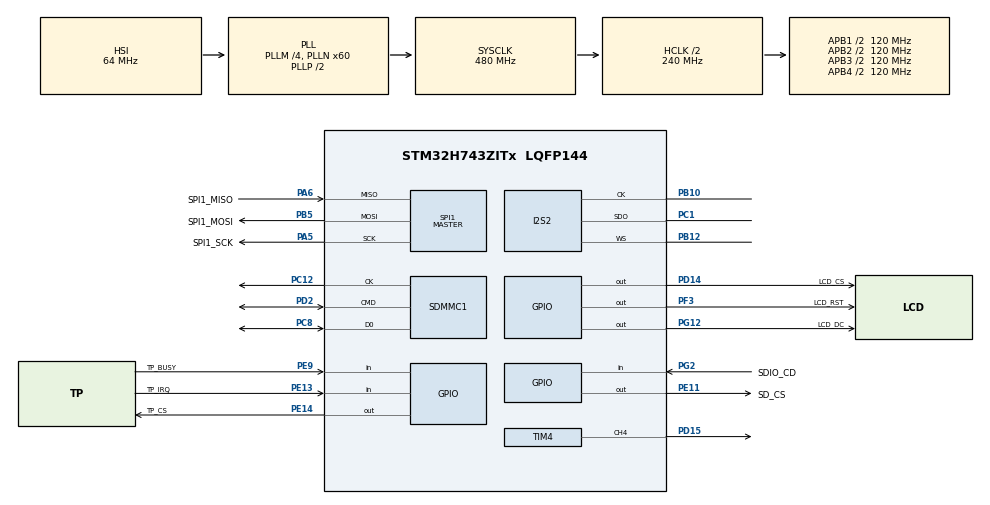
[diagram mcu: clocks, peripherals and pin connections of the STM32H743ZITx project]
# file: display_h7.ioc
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CORTEX_M7.CPU_DCache=Disabled
CORTEX_M7.CPU_ICache=Disabled
CORTEX_M7.Enable_Spec=MPU_REGION_ENABLE
CORTEX_M7.MPU_Control=MPU_PRIVILEGED_DEFAULT
CORTEX_M7.default_mode_Activation=1
Dma.Request0=SPI1_TX
Dma.Request1=SPI2_TX
Dma.SPI1_TX.0.Direction=DMA_MEMORY_TO_PERIPH
Dma.SPI1_TX.0.EventEnable=DISABLE
Dma.SPI1_TX.0.FIFOMode=DMA_FIFOMODE_DISABLE
Dma.SPI1_TX.0.Instance=DMA1_Stream0
Dma.SPI1_TX.0.MemDataAlignment=DMA_MDATAALIGN_BYTE
Dma.SPI1_TX.0.MemInc=DMA_MINC_ENABLE
Dma.SPI1_TX.0.Mode=DMA_NORMAL
Dma.SPI1_TX.0.PeriphDataAlignment=DMA_PDATAALIGN_BYTE
Dma.SPI1_TX.0.PeriphInc=DMA_PINC_DISABLE
Dma.SPI1_TX.0.Polarity=HAL_DMAMUX_REQ_GEN_RISING
Dma.SPI1_TX.0.Priority=DMA_PRIORITY_LOW
Dma.SPI1_TX.0.RequestNumber=1
Dma.SPI1_TX.0.SignalID=NONE
Dma.SPI1_TX.0.SyncEnable=DISABLE
Dma.SPI1_TX.0.SyncPolarity=HAL_DMAMUX_SYNC_NO_EVENT
Dma.SPI1_TX.0.SyncRequestNumber=1
Dma.SPI1_TX.0.SyncSignalID=NONE
Dma.SPI2_TX.1.Direction=DMA_MEMORY_TO_PERIPH
Dma.SPI2_TX.1.EventEnable=DISABLE
Dma.SPI2_TX.1.FIFOMode=DMA_FIFOMODE_DISABLE
Dma.SPI2_TX.1.Instance=DMA1_Stream1
Dma.SPI2_TX.1.MemDataAlignment=DMA_MDATAALIGN_HALFWORD
Dma.SPI2_TX.1.MemInc=DMA_MINC_ENABLE
Dma.SPI2_TX.1.Mode=DMA_CIRCULAR
Dma.SPI2_TX.1.PeriphDataAlignment=DMA_PDATAALIGN_HALFWORD
Dma.SPI2_TX.1.PeriphInc=DMA_PINC_DISABLE
Dma.SPI2_TX.1.Polarity=HAL_DMAMUX_REQ_GEN_RISING
Dma.SPI2_TX.1.Priority=DMA_PRIORITY_VERY_HIGH
Dma.SPI2_TX.1.RequestNumber=1
Dma.SPI2_TX.1.SignalID=NONE
Dma.SPI2_TX.1.SyncEnable=DISABLE
Dma.SPI2_TX.1.SyncPolarity=HAL_DMAMUX_SYNC_NO_EVENT
Dma.SPI2_TX.1.SyncRequestNumber=1
Dma.SPI2_TX.1.SyncSignalID=NONE
FATFS.BSP.number=1
FATFS.USE_DMA_CODE_SD=0
FATFS._FS_EXFAT=1
FATFS._MAX_SS=4096
FATFS._USE_FIND=1
FATFS._USE_LFN=1
FATFS0.BSP.STBoard=false
FATFS0.BSP.api=Unknown
FATFS0.BSP.instance=PG2
FATFS0.BSP.ip=GPIO
FATFS0.BSP.mode=Input
FATFS0.BSP.name=Detect_SDIO
FATFS0.BSP.solution=PG2
I2S2.AudioFreq=I2S_AUDIOFREQ_44K
I2S2.CPOL=I2S_CPOL_LOW
I2S2.ErrorAudioFreq=0.41 %
I2S2.Instance=SPI$Index
I2S2.MasterKeepIOState=I2S_MASTER_KEEP_IO_STATE_ENABLE
I2S2.RealAudioFreq=44.182 KHz
Mcu.Family=STM32H7
Mcu.Name=STM32H743ZITx
Mcu.Package=LQFP144
NUCLEO-H743ZI2.VCP=true
NVIC.DMA1_Stream0_IRQn=true\:0\:0\:false\:false\:true\:false\:true\:true
NVIC.DMA1_Stream1_IRQn=true\:0\:0\:false\:false\:true\:false\:true\:true
NVIC.PriorityGroup=NVIC_PRIORITYGROUP_4
NVIC.SPI1_IRQn=true\:0\:0\:false\:false\:true\:false\:true\:true
NVIC.SPI2_IRQn=true\:0\:0\:false\:false\:true\:true\:true\:true
PA13\ (JTMS/SWDIO).GPIO_Label=JTMS
PA13\ (JTMS/SWDIO).Signal=DEBUG_JTMS-SWDIO
PA14\ (JTCK/SWCLK).GPIO_Label=JTCK
PA14\ (JTCK/SWCLK).Signal=DEBUG_JTCK-SWCLK
PA5.GPIO_Label=SPI1_SCK
PA5.Mode=Full_Duplex_Master
PA5.Signal=SPI1_SCK
PA6.GPIO_Label=SPI1_MISO
PA6.Mode=Full_Duplex_Master
PA6.Signal=SPI1_MISO
PB10.Mode=Half_Duplex_Master_Tx
PB10.Signal=I2S2_CK
PB12.Mode=Half_Duplex_Master_Tx
PB12.Signal=I2S2_WS
PB5.GPIO_Label=SPI1_MOSI
PB5.Mode=Full_Duplex_Master
PB5.Signal=SPI1_MOSI
PC1.Mode=Half_Duplex_Master_Tx
PC1.Signal=I2S2_SDO
PC10.GPIO_Label=uSD_D2
PC10.Signal=SDMMC1_D2
PC11.GPIO_Label=uSD_D3
PC11.Signal=SDMMC1_D3
PC12.Mode=SD_1_bit
PC12.Signal=SDMMC1_CK
PC14-OSC32_IN\ (OSC32_IN).Signal=RCC_OSC32_IN
PC15-OSC32_OUT\ (OSC32_OUT).Signal=RCC_OSC32_OUT
PC8.Mode=SD_1_bit
PC8.Signal=SDMMC1_D0
PC9.GPIO_Label=uSD_D1
PC9.Signal=SDMMC1_D1
PD14.GPIO_Label=LCD_CS
PD14.PinState=GPIO_PIN_SET
PD14.Signal=GPIO_Output
PD15.Signal=S_TIM4_CH4
PD2.Mode=SD_1_bit
PD2.Signal=SDMMC1_CMD
PD8.Signal=USART3_TX
PD9.Signal=USART3_RX
PE11.GPIO_Label=SD_CS
PE11.Signal=GPIO_Output
PE13.GPIO_Label=TP_IRQ
PE13.GPIO_PuPd=GPIO_PULLUP
PE13.Signal=GPIO_Input
PE14.GPIO_Label=TP_CS
PE14.PinState=GPIO_PIN_SET
PE14.Signal=GPIO_Output
PE9.GPIO_Label=TP_BUSY
PE9.Signal=GPIO_Input
PF3.GPIO_Label=LCD_RST
PF3.Signal=GPIO_Output
PG12.GPIO_Label=LCD_DC
PG12.Signal=GPIO_Output
PG2.GPIO_Label=SDIO_CD
PG2.Signal=GPIO_Input
PH0-OSC_IN\ (PH0).Signal=RCC_OSC_IN
PH1-OSC_OUT\ (PH1).Signal=RCC_OSC_OUT
ProjectManager.HeapSize=0x200
ProjectManager.StackSize=0x400
ProjectManager.TargetToolchain=STM32CubeIDE
RCC.ADCFreq_Value=129000000
RCC.APB1Freq_Value=120000000
RCC.APB2Freq_Value=120000000
RCC.APB3Freq_Value=120000000
RCC.APB4Freq_Value=120000000
RCC.CortexFreq_Value=480000000
RCC.D1PPRE=RCC_APB3_DIV2
RCC.D2PPRE1=RCC_APB1_DIV2
RCC.D2PPRE2=RCC_APB2_DIV2
RCC.D3PPRE=RCC_APB4_DIV2
RCC.DIVM1=4
RCC.DIVN1=60
RCC.DIVQ1=7
RCC.HCLKFreq_Value=240000000
RCC.HPRE=RCC_HCLK_DIV2
RCC.PLL2FRACN=0
RCC.PLL3FRACN=0
RCC.PLLFRACN=0
RCC.SYSCLKFreq_VALUE=480000000
RCC.SYSCLKSource=RCC_SYSCLKSOURCE_PLLCLK
RCC.USBFreq_Value=137142857.14285713
SDMMC1.ClockDiv=3
SH.S_TIM4_CH4.0=TIM4_CH4,PWM Generation4 CH4
SPI1.BaudRatePrescaler=SPI_BAUDRATEPRESCALER_8
SPI1.CLKPhase=SPI_PHASE_1EDGE
SPI1.CLKPolarity=SPI_POLARITY_LOW
SPI1.CalculateBaudRate=17.142857 MBits/s
SPI1.DataSize=SPI_DATASIZE_8BIT
SPI1.Direction=SPI_DIRECTION_2LINES
SPI1.MasterKeepIOState=SPI_MASTER_KEEP_IO_STATE_ENABLE
SPI1.Mode=SPI_MODE_MASTER
SPI1.VirtualType=VM_MASTER
TIM4.Channel-PWM\ Generation4\ CH4=TIM_CHANNEL_4
TIM4.Period=1000-1
TIM4.Prescaler=800-1
VP_FATFS_VS_SDIO.Mode=SDIO
VP_MEMORYMAP_VS_MEMORYMAP.Mode=CurAppReg
VP_NUCLEO-H743ZI2_VS_BSP_COMMON.Mode=COMMON
board=NUCLEO-H743ZI2

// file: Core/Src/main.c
/* USER CODE BEGIN Header */
/**
 ******************************************************************************
 * @file           : main.c
 * @brief          : Main program body
 ******************************************************************************
 * @attention
 *
 * Copyright (c) 2025 STMicroelectronics.
 * All rights reserved.
 *
 * This software is licensed under terms that can be found in the LICENSE file
 * in the root directory of this software component.
 * If no LICENSE file comes with this software, it is provided AS-IS.
 *
 ******************************************************************************
 */
/* USER CODE END Header */
#include "main.h"
#include "fatfs.h"

/* USER CODE BEGIN Includes */
#include <string.h>
#include <stdbool.h>
#include "ILI9486.h"
#include "xpt2046.h"
#include "lvgl.h"
#include "ui.h"
#include "actions.h"
#include "PeakingFilter.h"
//#include "arm_math.h"
/* USER CODE END Includes */

/* USER CODE BEGIN PTD */
typedef struct {
    uint16_t format;
    uint16_t channels;
    uint32_t frequency;
    uint32_t bytes_per_sec;
    uint16_t bytes_per_block;
    uint16_t bits_per_sample;
} fmt_typedef;
/* USER CODE END PTD */

/* USER CODE BEGIN PD */
#define LCD_BUFFER_SIZE LCD_X_MAXPIXEL * 64 * 2

#define I2S_DMA_BUFFER_SAMPLES 256
#define I2S_DMA_BUFFER_SIZE 2 * 2 * I2S_DMA_BUFFER_SAMPLES // 2 full buffers L+R samples
#define NUM_BANDS               3
#define SAMPLE_RATE             44100.0f

/* USER CODE END PD */

COM_InitTypeDef BspCOMInit;

I2S_HandleTypeDef hi2s2;
DMA_HandleTypeDef hdma_spi2_tx;

SD_HandleTypeDef hsd1;

SPI_HandleTypeDef hspi1;
DMA_HandleTypeDef hdma_spi1_tx;

TIM_HandleTypeDef htim4;

/* USER CODE BEGIN PV */
static uint8_t buf1[LCD_BUFFER_SIZE];
static uint8_t buf2[LCD_BUFFER_SIZE];

static lv_display_t *lcd_disp;
PeakingFilter filters[NUM_BANDS];

volatile float amplifier = 1.0f;
int16_t i2s_dma_buffer[I2S_DMA_BUFFER_SIZE];
volatile uint8_t audio_playing = 0;
volatile uint8_t open_next_file = 1;

uint8_t nfiles = 0;

char filelist[20][50] = {0}; //20 files of 50 chars

/* USER CODE END PV */

void SystemClock_Config(void);
static void MPU_Config(void);
static void MX_GPIO_Init(void);
static void MX_DMA_Init(void);
static void MX_SPI1_Init(void);
static void MX_TIM4_Init(void);
static void MX_I2S2_Init(void);
static void MX_SDMMC1_SD_Init(void);

/* USER CODE BEGIN 0 */

FIL music_file; // File
FILINFO music_file_info, fno;
DIR dir;
FRESULT res;  // result

#define USE_DMA_LCD 1
#if USE_DMA_LCD

static volatile bool lcd_bus_busy = 0;
void my_flush_cb(lv_display_t *disp, const lv_area_t *area, uint8_t *px_map)
{
	LV_UNUSED(disp);

	int height = area->y2 - area->y1 + 1;
	int width = area->x2 - area->x1 + 1;
	uint32_t flush_size = height * width * 2;

	//Set the drawing region
	LCD_SetWindow(area->x1, area->y1, area->x2, area->y2);
	LCD_DC_1;
	LCD_CS_0;
	lcd_bus_busy = 1;
//	SCB_CleanInvalidateDCache();
	HAL_SPI_Transmit_DMA(&hspi1, px_map, flush_size);
}

void HAL_SPI_TxCpltCallback(SPI_HandleTypeDef *hspi) {
	//Return CS to high
	LCD_CS_1;
	lcd_bus_busy = 0;
	// Inform the graphics library that you are ready with the flushing
	lv_display_flush_ready(lcd_disp);
//	SCB_CleanInvalidateDCache();
}
#else
//	lv_display_set_flush_cb(lcd_disp, my_flush_cb);
void my_flush_cb(lv_display_t *disp, const lv_area_t *area, uint8_t *px_map) {
	int height = area->y2 - area->y1 + 1;
	int width = area->x2 - area->x1 + 1;
	uint32_t flush_size = height * width * 2;

	//Set the drawing region
	LCD_SetWindow(area->x1, area->y1, area->x2, area->y2);
	LCD_DC_1;
	LCD_CS_0;
	HAL_SPI_Transmit(&hspi1, px_map, flush_size, HAL_MAX_DELAY);
	//Return CS to high
	LCD_CS_1;
	// Inform the graphics library that you are ready with the flushing
	lv_display_flush_ready(disp);
}
#endif

float convert_slider_dB(int8_t slider_val)
{
	return (((float)slider_val - 50.0)/4.166667f);
}

void action_update_bass(lv_event_t * e)
{
	float gain = convert_slider_dB((int8_t)lv_slider_get_value(objects.slider_bass));
//	printf("bass gain: %f\r\n", gain);
	char format[11];
	snprintf(format, 11, "%.2f dB", gain);
	lv_label_set_text(objects.label_gain_bass, format);
	PeakingFilter_SetParameters(&filters[0], 70, 2.3, gain);
}

void action_update_mid(lv_event_t * e)
{
	float gain = convert_slider_dB((int8_t)lv_slider_get_value(objects.slider_mid));
//	printf("mid gain: %f\r\n", gain);
	char format[11];
	snprintf(format, 11, "%.2f dB", gain);
	lv_label_set_text(objects.label_gain_mid, format);
	PeakingFilter_SetParameters(&filters[1], 4300, 3.2, gain);
}

void action_update_treble(lv_event_t * e)
{
	float gain = convert_slider_dB((int8_t)lv_slider_get_value(objects.slider_treble));
//	printf("treble gain: %f\r\n", gain);
	char format[11];
	snprintf(format, 11, "%.2f dB", gain);
	lv_label_set_text(objects.label_gain_treble, format);
	PeakingFilter_SetParameters(&filters[2], 13000, 3, gain);
}

void touch_discard_firstreading()
{
	uint8_t read_discard[2] = { 0 };

	SPI_Prescaler_Touch();
	XPT2046_TouchReadChannel(READ_X, read_discard);
	SPI_Prescaler_LCD();
}

static void lvgl_xpt2046_read_cb(lv_indev_t *indev, lv_indev_data_t *data)
{
	static int16_t x, y;

	if (XPT2046_TouchPressed()) {
#if USE_DMA_LCD
//		 A little blocking but it works
		while(lcd_bus_busy);
	//	if(lcd_bus_busy) {
	//		data->continue_reading = XPT2046_TouchPressed();
	//		return;
	//	}
#endif
		touch_discard_firstreading();
		XPT2046_TouchGetCoordinates(&x, &y);
		data->point.x = x;
		data->point.y = y;
		data->state = LV_INDEV_STATE_PRESSED;
	} else {
		data->state = LV_INDEV_STATE_RELEASED;
	}
}

void lvgl_xpt2046_touch_init()
{
	lv_indev_t *indev = lv_indev_create();
	// Touch pad is a pointer-like device.
	lv_indev_set_type(indev, LV_INDEV_TYPE_POINTER);
	lv_indev_set_read_cb(indev, lvgl_xpt2046_read_cb);
}

FRESULT parse_wav_header(FIL *f, fmt_typedef *format) {
    uint8_t buf[512];
    UINT n;

    if (f_read(f, buf, sizeof(buf), &n) != FR_OK || n < 44) {
        printf("Read error or file too small\r\n");
        return FR_INT_ERR;
    }

    if (memcmp(buf, "RIFF", 4) != 0 || memcmp(buf + 8, "WAVE", 4) != 0) {
        printf("Not a RIFF/WAVE file\r\n");
        return FR_INT_ERR;
    }

    size_t offset = 12; // Skip RIFF header

    while (offset + 8 < sizeof(buf)) {
        char chunk_id[5] = {0};
        memcpy(chunk_id, buf + offset, 4);
        uint32_t chunk_size = *(uint32_t*)(buf + offset + 4);

        if (memcmp(chunk_id, "fmt ", 4) == 0) {
            memcpy(format, buf + offset + 8, sizeof(fmt_typedef));
        } else if (memcmp(chunk_id, "data", 4) == 0) {
            // Found data chunk, seek to actual PCM data
            if (f_lseek(f, offset + 8) != FR_OK) {
                printf("Seek failed\n");
                return FR_INT_ERR;
            }
            //printf("Found data chunk at offset %u\r\n", offset + 8);
            return FR_OK;
        }

        offset += 8 + chunk_size;
        if (offset & 1) offset++; // Pad to even boundary if needed
    }

    printf("Data chunk not found\r\n");
    return FR_INT_ERR;
}

/*
void process_buffer(int16_t *target_buffer) {
    int16_t buf[2 * I2S_DMA_BUFFER_SAMPLES] = { 0 };
    unsigned int bytes_read = 0;

    if (f_read(&music_file, &buf, sizeof(buf), &bytes_read) == FR_OK) {
        for (int i = 0; i < 2 * I2S_DMA_BUFFER_SAMPLES; ++i) {
            buf[i] = buf[i] * amplifier;
        }

        memcpy(target_buffer, buf, sizeof(buf));

        if (bytes_read < sizeof(buf)) {
            printf("File done!\r\n");
            HAL_I2S_DMAStop(&hi2s2);
            audio_playing = 0;
            open_next_file = 1;
        }
    }
}
*/

void action_reset_eq(lv_event_t * e)
{
	PeakingFilter_Init(&filters[0], SAMPLE_RATE);
	PeakingFilter_Init(&filters[1], SAMPLE_RATE);
	PeakingFilter_Init(&filters[2], SAMPLE_RATE);
	amplifier = 1.0f;

	lv_label_set_text(objects.label_gain_bass, "0 dB");
	lv_label_set_text(objects.label_gain_mid, "0 dB");
	lv_label_set_text(objects.label_gain_treble, "0 dB");
	lv_label_set_text(objects.label_volume, "100");

	lv_slider_set_value(objects.slider_bass, 50, LV_ANIM_OFF);
	lv_slider_set_value(objects.slider_mid, 50, LV_ANIM_OFF);
	lv_slider_set_value(objects.slider_treble, 50, LV_ANIM_OFF);
	lv_slider_set_value(objects.slider_volume, 100, LV_ANIM_OFF);
}

void process_buffer(int16_t *target_buffer) {
    int16_t buf[2 * I2S_DMA_BUFFER_SAMPLES] = { 0 };
    unsigned int bytes_read = 0;

    if (f_read(&music_file, &buf, sizeof(buf), &bytes_read) == FR_OK) {
        for (int i = 0; i < I2S_DMA_BUFFER_SAMPLES; ++i) {
            // Convert to float32
			float l = (float)buf[2 * i]     / 32768.0f;
			float r = (float)buf[2 * i + 1] / 32768.0f;

			// EQ processing
			for (int b = 0; b < NUM_BANDS; ++b) {
				l = PeakingFilter_Update(&filters[b], l);
				r = PeakingFilter_Update(&filters[b], r);
	        }

			// Amplify and convert back
            l = l * amplifier * 32768.0f;
            r = r * amplifier * 32768.0f;

            // Clamp values
            if (l > 32767.0f) l = 32767.0f;
            if (l < -32768.0f) l = -32768.0f;
            if (r > 32767.0f) r = 32767.0f;
            if (r < -32768.0f) r = -32768.0f;

            //Writeback
            target_buffer[2 * i]     = (int16_t)l;
            target_buffer[2 * i + 1] = (int16_t)r;
        }

        if (bytes_read < sizeof(buf)) {
            printf("File done!\r\n");
            HAL_I2S_DMAStop(&hi2s2);
            audio_playing = 0;
            open_next_file = 1;
        }
    }
}

void play_next()
{
	HAL_I2S_DMAStop(&hi2s2);
	audio_playing = 0;
	open_next_file = 1;
}

void action_update_volume(lv_event_t * e)
{
	int8_t value = (int8_t)lv_slider_get_value(objects.slider_volume);
	amplifier = ((float)value) / 100;
	lv_label_set_text_fmt(objects.label_volume, "%d", value);
}

void action_goto_main_page(lv_event_t * e)
{
	loadScreen(SCREEN_ID_MAIN);
}
void action_goto_settings_page(lv_event_t * e)
{
	loadScreen(SCREEN_ID_SETTINGS_PAGE);
}

void action_next_song(lv_event_t * e)
{
	play_next();
}

void HAL_I2S_TxCpltCallback(I2S_HandleTypeDef *hi2s) {
    if (audio_playing) {
        process_buffer(&i2s_dma_buffer[2 * I2S_DMA_BUFFER_SAMPLES]);
    }
}

void HAL_I2S_TxHalfCpltCallback(I2S_HandleTypeDef *hi2s) {
    if (audio_playing) {
        process_buffer(&i2s_dma_buffer[0]);
    }
}

bool paused = false;

void play_pause_stream()
{
	if(!paused){
		HAL_I2S_DMAPause(&hi2s2);
		paused = true;
	} else {
		HAL_I2S_DMAResume(&hi2s2);
		paused = false;
	}
}

void action_play_pause_audio(lv_event_t * e)
{
//	printf("play/pause button pressed\r\n");
	play_pause_stream();
}

void start_playing()
{
	// Close if there was an open file; if not, the error is harmless
    f_close(&music_file);

    res = f_findnext(&dir, &music_file_info);

    if (res != FR_OK || music_file_info.fname[0] == '\0') { // If we're out of files start again
        res = f_findfirst(&dir, &music_file_info, "", "*.wav");
    }

    printf("Next file: %s\r\n", music_file_info.fname);

    res = f_open(&music_file, music_file_info.fname, FA_READ);
    if (res != FR_OK) {
        printf("Unable to open %s\r\n", music_file_info.fname);
        return;
    }

    fmt_typedef wav_format;

    if (parse_wav_header(&music_file, &wav_format) != FR_OK) {
        printf("Unable to parse header\r\n");
        open_next_file = 1;
    } else {
//        printf("Wav format: %d\r\n", wav_format.format);
//        printf("Wav channels: %d\r\n", wav_format.channels);
//        printf("Wav frequency: %lu\r\n", wav_format.frequency);
//        printf("Wav bytes per sec: %lu\r\n", wav_format.bytes_per_sec);
//        printf("Wav bytes per block: %d\r\n", wav_format.bytes_per_block);
//        printf("Wav bits per sample: %d\r\n", wav_format.bits_per_sample);

        // Pre-fill both halves of the buffer before starting DMA
        process_buffer(&i2s_dma_buffer[0]); // Fill first half
        process_buffer(&i2s_dma_buffer[2 * I2S_DMA_BUFFER_SAMPLES]); // Fill second half

        open_next_file = 0;
        audio_playing = 1;
        lv_label_set_text(objects.label_song, music_file_info.fname);
        HAL_I2S_Transmit_DMA(&hi2s2, (uint16_t*) &i2s_dma_buffer, I2S_DMA_BUFFER_SIZE);
    }
}

/* USER CODE END 0 */

int main(void)
{

  /* MPU Configuration--------------------------------------------------------*/
  MPU_Config();

  /* MCU Configuration--------------------------------------------------------*/

  /* Reset of all peripherals, Initializes the Flash interface and the Systick. */
  HAL_Init();

  /* Configure the system clock */
  SystemClock_Config();

  /* Initialize all configured peripherals */
  MX_GPIO_Init();
  MX_DMA_Init();
  MX_SPI1_Init();
  MX_TIM4_Init();
  MX_FATFS_Init();
  MX_I2S2_Init();
  MX_SDMMC1_SD_Init();

  /* Initialize COM1 port (115200, 8 bits (7-bit data + 1 stop bit), no parity */
  BspCOMInit.BaudRate   = 115200;
  BspCOMInit.WordLength = COM_WORDLENGTH_8B;
  BspCOMInit.StopBits   = COM_STOPBITS_1;
  BspCOMInit.Parity     = COM_PARITY_NONE;
  BspCOMInit.HwFlowCtl  = COM_HWCONTROL_NONE;
  if (BSP_COM_Init(COM1, &BspCOMInit) != BSP_ERROR_NONE)
  {
    Error_Handler();
  }

  /* Infinite loop */
  /* USER CODE BEGIN WHILE */
	PeakingFilter_Init(&filters[0], SAMPLE_RATE);
	PeakingFilter_Init(&filters[1], SAMPLE_RATE);
	PeakingFilter_Init(&filters[2], SAMPLE_RATE);

	res = f_mount(&SDFatFS, SDPath, 1);
  	if (res != FR_OK){
  		puts("Error in mounting SDCard!\r\n");
  	}
  	else {
  		puts("SDCard mounted successfully!\r\n");
  	}

	LCD_SCAN_DIR Lcd_ScanDir = SCAN_DIR_DFT;
	LCD_Init(Lcd_ScanDir, 1000);

	lv_init();
	lv_tick_set_cb(HAL_GetTick);
	lcd_disp = lv_display_create(LCD_X_MAXPIXEL, LCD_Y_MAXPIXEL);
	lv_display_set_buffers(lcd_disp, buf1, buf2, sizeof(buf1),
			LV_DISPLAY_RENDER_MODE_PARTIAL);
	lv_display_set_flush_cb(lcd_disp, my_flush_cb);
	lvgl_xpt2046_touch_init();

	ui_init();

	lv_table_set_column_count(objects.songs_table, 1);
	lv_table_set_column_width(objects.songs_table, 0, 330);
	lv_table_set_cell_value(objects.songs_table, 0, 0, "Name");

  	f_opendir(&dir, "/");   // Open Root
  	do {
  	    f_readdir(&dir, &fno);
  	    if(fno.fname[0] != 0){
  	    	strcpy(filelist[nfiles], fno.fname);
  	    	nfiles++;
//  	        printf("File found: %s\r\n", fno.fname);
  	        lv_table_set_cell_value(objects.songs_table, nfiles, 0, fno.fname);
  	    }
  	} while(fno.fname[0] != 0);
  	f_closedir(&dir);

	while (1) {
    /* USER CODE END WHILE */

    /* USER CODE BEGIN 3 */
        if (open_next_file) {
            start_playing();
        }
		uint32_t time_till_next = lv_timer_handler();
		HAL_Delay(time_till_next);
	}
  /* USER CODE END 3 */
}

void SystemClock_Config(void)
{
  RCC_OscInitTypeDef RCC_OscInitStruct = {0};
  RCC_ClkInitTypeDef RCC_ClkInitStruct = {0};

  /** Supply configuration update enable
  */
  HAL_PWREx_ConfigSupply(PWR_LDO_SUPPLY);

  /** Configure the main internal regulator output voltage
  */
  __HAL_PWR_VOLTAGESCALING_CONFIG(PWR_REGULATOR_VOLTAGE_SCALE0);

  while(!__HAL_PWR_GET_FLAG(PWR_FLAG_VOSRDY)) {}

  /** Initializes the RCC Oscillators according to the specified parameters
  * in the RCC_OscInitTypeDef structure.
  */
  RCC_OscInitStruct.OscillatorType = RCC_OSCILLATORTYPE_HSI;
  RCC_OscInitStruct.HSIState = RCC_HSI_DIV1;
  RCC_OscInitStruct.HSICalibrationValue = RCC_HSICALIBRATION_DEFAULT;
  RCC_OscInitStruct.PLL.PLLState = RCC_PLL_ON;
  RCC_OscInitStruct.PLL.PLLSource = RCC_PLLSOURCE_HSI;
  RCC_OscInitStruct.PLL.PLLM = 4;
  RCC_OscInitStruct.PLL.PLLN = 60;
  RCC_OscInitStruct.PLL.PLLP = 2;
  RCC_OscInitStruct.PLL.PLLQ = 7;
  RCC_OscInitStruct.PLL.PLLR = 2;
  RCC_OscInitStruct.PLL.PLLRGE = RCC_PLL1VCIRANGE_3;
  RCC_OscInitStruct.PLL.PLLVCOSEL = RCC_PLL1VCOWIDE;
  RCC_OscInitStruct.PLL.PLLFRACN = 0;
  if (HAL_RCC_OscConfig(&RCC_OscInitStruct) != HAL_OK)
  {
    Error_Handler();
  }

  /** Initializes the CPU, AHB and APB buses clocks
  */
  RCC_ClkInitStruct.ClockType = RCC_CLOCKTYPE_HCLK|RCC_CLOCKTYPE_SYSCLK
                              |RCC_CLOCKTYPE_PCLK1|RCC_CLOCKTYPE_PCLK2
                              |RCC_CLOCKTYPE_D3PCLK1|RCC_CLOCKTYPE_D1PCLK1;
  RCC_ClkInitStruct.SYSCLKSource = RCC_SYSCLKSOURCE_PLLCLK;
  RCC_ClkInitStruct.SYSCLKDivider = RCC_SYSCLK_DIV1;
  RCC_ClkInitStruct.AHBCLKDivider = RCC_HCLK_DIV2;
  RCC_ClkInitStruct.APB3CLKDivider = RCC_APB3_DIV2;
  RCC_ClkInitStruct.APB1CLKDivider = RCC_APB1_DIV2;
  RCC_ClkInitStruct.APB2CLKDivider = RCC_APB2_DIV2;
  RCC_ClkInitStruct.APB4CLKDivider = RCC_APB4_DIV2;

  if (HAL_RCC_ClockConfig(&RCC_ClkInitStruct, FLASH_LATENCY_4) != HAL_OK)
  {
    Error_Handler();
  }
}

static void MX_I2S2_Init(void)
{

  hi2s2.Instance = SPI2;
  hi2s2.Init.Mode = I2S_MODE_MASTER_TX;
  hi2s2.Init.Standard = I2S_STANDARD_PHILIPS;
  hi2s2.Init.DataFormat = I2S_DATAFORMAT_16B;
  hi2s2.Init.MCLKOutput = I2S_MCLKOUTPUT_DISABLE;
  hi2s2.Init.AudioFreq = I2S_AUDIOFREQ_44K;
  hi2s2.Init.CPOL = I2S_CPOL_LOW;
  hi2s2.Init.FirstBit = I2S_FIRSTBIT_MSB;
  hi2s2.Init.WSInversion = I2S_WS_INVERSION_DISABLE;
  hi2s2.Init.Data24BitAlignment = I2S_DATA_24BIT_ALIGNMENT_RIGHT;
  hi2s2.Init.MasterKeepIOState = I2S_MASTER_KEEP_IO_STATE_ENABLE;
  if (HAL_I2S_Init(&hi2s2) != HAL_OK)
  {
    Error_Handler();
  }

}

static void MX_SDMMC1_SD_Init(void)
{

  hsd1.Instance = SDMMC1;
  hsd1.Init.ClockEdge = SDMMC_CLOCK_EDGE_RISING;
  hsd1.Init.ClockPowerSave = SDMMC_CLOCK_POWER_SAVE_DISABLE;
  hsd1.Init.BusWide = SDMMC_BUS_WIDE_1B;
  hsd1.Init.HardwareFlowControl = SDMMC_HARDWARE_FLOW_CONTROL_DISABLE;
  hsd1.Init.ClockDiv = 3;
  /* USER CODE BEGIN SDMMC1_Init 2 */

	if (HAL_SD_Init(&hsd1) != HAL_OK)
	{
	  Error_Handler();
	}

	if (HAL_SD_ConfigWideBusOperation(&hsd1, SDMMC_BUS_WIDE_4B) != HAL_OK)
	{
	  Error_Handler();
	}

  /* USER CODE END SDMMC1_Init 2 */

}

static void MX_SPI1_Init(void)
{

  /* SPI1 parameter configuration*/
  hspi1.Instance = SPI1;
  hspi1.Init.Mode = SPI_MODE_MASTER;
  hspi1.Init.Direction = SPI_DIRECTION_2LINES;
  hspi1.Init.DataSize = SPI_DATASIZE_8BIT;
  hspi1.Init.CLKPolarity = SPI_POLARITY_LOW;
  hspi1.Init.CLKPhase = SPI_PHASE_1EDGE;
  hspi1.Init.NSS = SPI_NSS_SOFT;
  hspi1.Init.BaudRatePrescaler = SPI_BAUDRATEPRESCALER_8;
  hspi1.Init.FirstBit = SPI_FIRSTBIT_MSB;
  hspi1.Init.TIMode = SPI_TIMODE_DISABLE;
  hspi1.Init.CRCCalculation = SPI_CRCCALCULATION_DISABLE;
  hspi1.Init.CRCPolynomial = 0x0;
  hspi1.Init.NSSPMode = SPI_NSS_PULSE_ENABLE;
  hspi1.Init.NSSPolarity = SPI_NSS_POLARITY_LOW;
  hspi1.Init.FifoThreshold = SPI_FIFO_THRESHOLD_01DATA;
  hspi1.Init.TxCRCInitializationPattern = SPI_CRC_INITIALIZATION_ALL_ZERO_PATTERN;
  hspi1.Init.RxCRCInitializationPattern = SPI_CRC_INITIALIZATION_ALL_ZERO_PATTERN;
  hspi1.Init.MasterSSIdleness = SPI_MASTER_SS_IDLENESS_00CYCLE;
  hspi1.Init.MasterInterDataIdleness = SPI_MASTER_INTERDATA_IDLENESS_00CYCLE;
  hspi1.Init.MasterReceiverAutoSusp = SPI_MASTER_RX_AUTOSUSP_DISABLE;
  hspi1.Init.MasterKeepIOState = SPI_MASTER_KEEP_IO_STATE_ENABLE;
  hspi1.Init.IOSwap = SPI_IO_SWAP_DISABLE;
  if (HAL_SPI_Init(&hspi1) != HAL_OK)
  {
    Error_Handler();
  }

}

static void MX_TIM4_Init(void)
{

  TIM_MasterConfigTypeDef sMasterConfig = {0};
  TIM_OC_InitTypeDef sConfigOC = {0};

  htim4.Instance = TIM4;
  htim4.Init.Prescaler = 800-1;
  htim4.Init.CounterMode = TIM_COUNTERMODE_UP;
  htim4.Init.Period = 1000-1;
  htim4.Init.ClockDivision = TIM_CLOCKDIVISION_DIV1;
  htim4.Init.AutoReloadPreload = TIM_AUTORELOAD_PRELOAD_DISABLE;
  if (HAL_TIM_PWM_Init(&htim4) != HAL_OK)
  {
    Error_Handler();
  }
  sMasterConfig.MasterOutputTrigger = TIM_TRGO_RESET;
  sMasterConfig.MasterSlaveMode = TIM_MASTERSLAVEMODE_DISABLE;
  if (HAL_TIMEx_MasterConfigSynchronization(&htim4, &sMasterConfig) != HAL_OK)
  {
    Error_Handler();
  }
  sConfigOC.OCMode = TIM_OCMODE_PWM1;
  sConfigOC.Pulse = 0;
  sConfigOC.OCPolarity = TIM_OCPOLARITY_HIGH;
  sConfigOC.OCFastMode = TIM_OCFAST_DISABLE;
  if (HAL_TIM_PWM_ConfigChannel(&htim4, &sConfigOC, TIM_CHANNEL_4) != HAL_OK)
  {
    Error_Handler();
  }
  HAL_TIM_MspPostInit(&htim4);

}

static void MX_DMA_Init(void)
{

  /* DMA controller clock enable */
  __HAL_RCC_DMA1_CLK_ENABLE();

  /* DMA interrupt init */
  /* DMA1_Stream0_IRQn interrupt configuration */
  HAL_NVIC_SetPriority(DMA1_Stream0_IRQn, 0, 0);
  HAL_NVIC_EnableIRQ(DMA1_Stream0_IRQn);
  /* DMA1_Stream1_IRQn interrupt configuration */
  HAL_NVIC_SetPriority(DMA1_Stream1_IRQn, 0, 0);
  HAL_NVIC_EnableIRQ(DMA1_Stream1_IRQn);

}

static void MX_GPIO_Init(void)
{
  GPIO_InitTypeDef GPIO_InitStruct = {0};

  /* GPIO Ports Clock Enable */
  __HAL_RCC_GPIOC_CLK_ENABLE();
  __HAL_RCC_GPIOF_CLK_ENABLE();
  __HAL_RCC_GPIOH_CLK_ENABLE();
  __HAL_RCC_GPIOA_CLK_ENABLE();
  __HAL_RCC_GPIOE_CLK_ENABLE();
  __HAL_RCC_GPIOB_CLK_ENABLE();
  __HAL_RCC_GPIOD_CLK_ENABLE();
  __HAL_RCC_GPIOG_CLK_ENABLE();

  /*Configure GPIO pin Output Level */
  HAL_GPIO_WritePin(LCD_RST_GPIO_Port, LCD_RST_Pin, GPIO_PIN_RESET);

  /*Configure GPIO pin Output Level */
  HAL_GPIO_WritePin(SD_CS_GPIO_Port, SD_CS_Pin, GPIO_PIN_RESET);

  /*Configure GPIO pin Output Level */
  HAL_GPIO_WritePin(TP_CS_GPIO_Port, TP_CS_Pin, GPIO_PIN_SET);

  /*Configure GPIO pin Output Level */
  HAL_GPIO_WritePin(LCD_CS_GPIO_Port, LCD_CS_Pin, GPIO_PIN_SET);

  /*Configure GPIO pin Output Level */
  HAL_GPIO_WritePin(LCD_DC_GPIO_Port, LCD_DC_Pin, GPIO_PIN_RESET);

  /*Configure GPIO pin : LCD_RST_Pin */
  GPIO_InitStruct.Pin = LCD_RST_Pin;
  GPIO_InitStruct.Mode = GPIO_MODE_OUTPUT_PP;
  GPIO_InitStruct.Pull = GPIO_NOPULL;
  GPIO_InitStruct.Speed = GPIO_SPEED_FREQ_LOW;
  HAL_GPIO_Init(LCD_RST_GPIO_Port, &GPIO_InitStruct);

  /*Configure GPIO pin : TP_BUSY_Pin */
  GPIO_InitStruct.Pin = TP_BUSY_Pin;
  GPIO_InitStruct.Mode = GPIO_MODE_INPUT;
  GPIO_InitStruct.Pull = GPIO_NOPULL;
  HAL_GPIO_Init(TP_BUSY_GPIO_Port, &GPIO_InitStruct);

  /*Configure GPIO pins : SD_CS_Pin TP_CS_Pin */
  GPIO_InitStruct.Pin = SD_CS_Pin|TP_CS_Pin;
  GPIO_InitStruct.Mode = GPIO_MODE_OUTPUT_PP;
  GPIO_InitStruct.Pull = GPIO_NOPULL;
  GPIO_InitStruct.Speed = GPIO_SPEED_FREQ_LOW;
  HAL_GPIO_Init(GPIOE, &GPIO_InitStruct);

  /*Configure GPIO pin : TP_IRQ_Pin */
  GPIO_InitStruct.Pin = TP_IRQ_Pin;
  GPIO_InitStruct.Mode = GPIO_MODE_INPUT;
  GPIO_InitStruct.Pull = GPIO_PULLUP;
  HAL_GPIO_Init(TP_IRQ_GPIO_Port, &GPIO_InitStruct);

  /*Configure GPIO pin : LCD_CS_Pin */
  GPIO_InitStruct.Pin = LCD_CS_Pin;
  GPIO_InitStruct.Mode = GPIO_MODE_OUTPUT_PP;
  GPIO_InitStruct.Pull = GPIO_NOPULL;
  GPIO_InitStruct.Speed = GPIO_SPEED_FREQ_LOW;
  HAL_GPIO_Init(LCD_CS_GPIO_Port, &GPIO_InitStruct);

  /*Configure GPIO pin : SDIO_CD_Pin */
  GPIO_InitStruct.Pin = SDIO_CD_Pin;
  GPIO_InitStruct.Mode = GPIO_MODE_INPUT;
  GPIO_InitStruct.Pull = GPIO_NOPULL;
  HAL_GPIO_Init(SDIO_CD_GPIO_Port, &GPIO_InitStruct);

  /*Configure GPIO pin : LCD_DC_Pin */
  GPIO_InitStruct.Pin = LCD_DC_Pin;
  GPIO_InitStruct.Mode = GPIO_MODE_OUTPUT_PP;
  GPIO_InitStruct.Pull = GPIO_NOPULL;
  GPIO_InitStruct.Speed = GPIO_SPEED_FREQ_LOW;
  HAL_GPIO_Init(LCD_DC_GPIO_Port, &GPIO_InitStruct);

}

 /* MPU Configuration */

void MPU_Config(void)
{
  MPU_Region_InitTypeDef MPU_InitStruct = {0};

  /* Disables the MPU */
  HAL_MPU_Disable();

  /** Initializes and configures the Region and the memory to be protected
  */
  MPU_InitStruct.Enable = MPU_REGION_ENABLE;
  MPU_InitStruct.Number = MPU_REGION_NUMBER0;
  MPU_InitStruct.BaseAddress = 0x0;
  MPU_InitStruct.Size = MPU_REGION_SIZE_4GB;
  MPU_InitStruct.SubRegionDisable = 0x87;
  MPU_InitStruct.TypeExtField = MPU_TEX_LEVEL0;
  MPU_InitStruct.AccessPermission = MPU_REGION_NO_ACCESS;
  MPU_InitStruct.DisableExec = MPU_INSTRUCTION_ACCESS_DISABLE;
  MPU_InitStruct.IsShareable = MPU_ACCESS_SHAREABLE;
  MPU_InitStruct.IsCacheable = MPU_ACCESS_NOT_CACHEABLE;
  MPU_InitStruct.IsBufferable = MPU_ACCESS_NOT_BUFFERABLE;

  HAL_MPU_ConfigRegion(&MPU_InitStruct);
  /* Enables the MPU */
  HAL_MPU_Enable(MPU_PRIVILEGED_DEFAULT);

}

void Error_Handler(void)
{
	__disable_irq();
	while (1) {
	}
}
